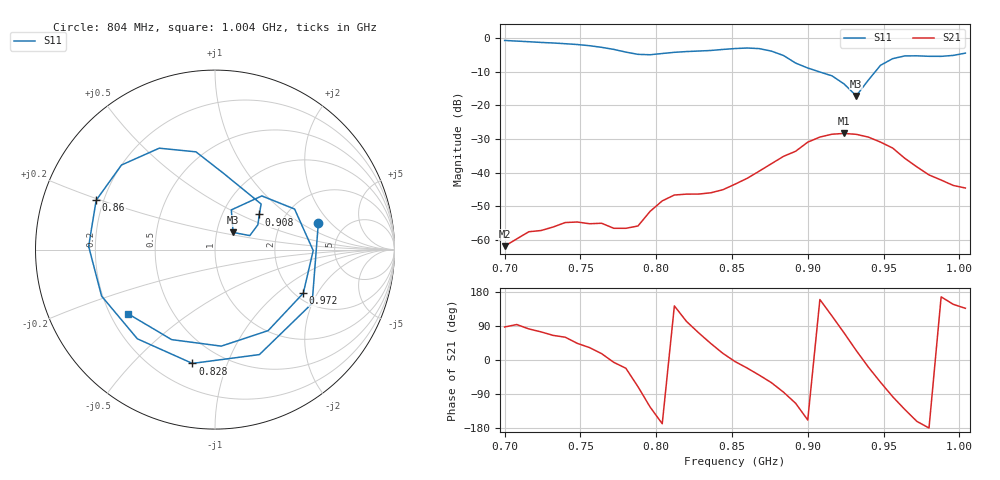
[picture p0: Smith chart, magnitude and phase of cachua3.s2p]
# Hz S RI R 50
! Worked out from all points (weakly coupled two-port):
!   39 points, 700 MHz to 1.004 GHz, reference 50 ohm
!   highest |S21| = -28.32 dB at 924 MHz (marker M1); lowest = -61.9 dB at 700 MHz (marker M2)
!   lowest |S11| = -17.1 dB at 932 MHz (marker M3), VSWR 1.32, Z = 60 + j11.7 ohm
!   |S11| at or under -10 dB: 907.8 MHz to 944.4 MHz (36.61 MHz wide, 3.95 % of centre)
!   S12 and S22 are empty: the file has one direction only
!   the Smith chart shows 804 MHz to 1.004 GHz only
!   S11 on the Smith chart (normalised r, x): 804 MHz: 3.21, +1.46; 828 MHz: 0.35, -0.76; 860 MHz: 0.17, +0.19; 908 MHz: 1.49, +0.65; 972 MHz: 2.20, -1.53; 1.004 GHz: 0.27, -0.31
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7e8  0.7624 0.5308  4.04e-05 0.000805  0 0  0 0
7.24e8  0.8286 -0.2597  0.000374 0.00133  0 0  0 0
7.4e8  0.4422 -0.7034  0.000901 0.00157  0 0  0 0
7.56e8  -0.1976 -0.7505  0.00146 0.000941  0 0  0 0
7.72e8  -0.657 -0.1895  0.00148 -0.00016  0 0  0 0
7.8e8  -0.5783 0.232  0.00138 -0.000551  0 0  0 0
7.88e8  -0.2235 0.5321  0.000538 -0.00152  0 0  0 0
7.96e8  0.2614 0.5059  -0.0015 -0.0022  0 0  0 0
8.04e8  0.5757 0.1468  -0.00373 -0.000777  0 0  0 0
8.2e8  0.2474 -0.5849  -0.00098 0.0047  0 0  0 0
8.28e8  -0.1261 -0.6341  0.0015 0.00457  0 0  0 0
8.52e8  -0.704 0.018  0.00673 -0.00048  0 0  0 0
8.6e8  -0.662 0.2749  0.00768 -0.00298  0 0  0 0
8.76e8  -0.3107 0.565  0.00684 -0.0117  0 0  0 0
9e8  0.257 0.2541  -0.0265 -0.0105  0 0  0 0
9.08e8  0.2467 0.1961  -0.0318 0.0118  0 0  0 0
9.24e8  0.1938 0.0779  0.0123 0.0363  0 0  0 0
9.32e8  0.101 0.0959  0.0338 0.0157  0 0  0 0
9.56e8  0.4434 0.2259  -0.00273 -0.0231  0 0  0 0
9.72e8  0.4919 -0.2428  -0.0116 -0.00378  0 0  0 0
9.88e8  0.0348 -0.5378  -0.00756 0.00179  0 0  0 0
1.004e9  -0.4846 -0.3574  -0.00428 0.00408  0 0  0 0
